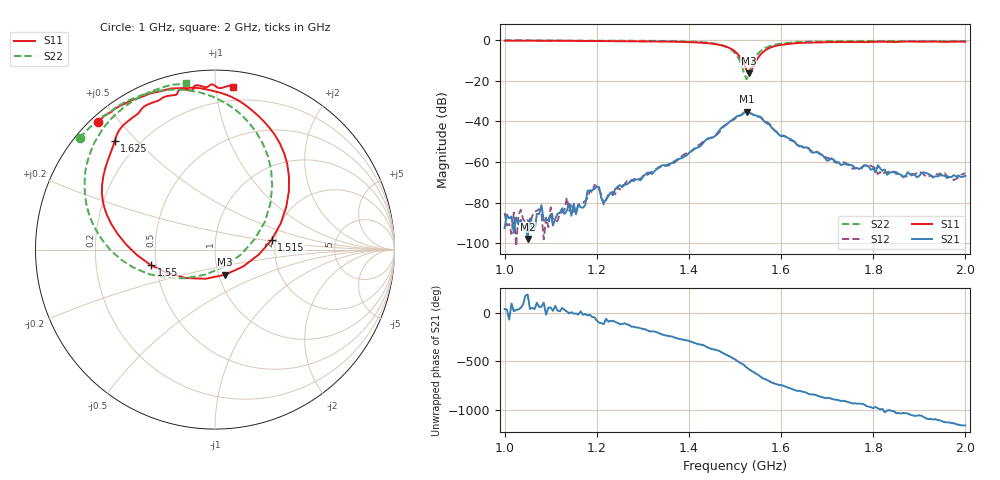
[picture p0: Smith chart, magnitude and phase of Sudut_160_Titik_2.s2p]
# Hz S RI R 50
! CMT, C1220, 16058040, 17.2.0/1
! Date: 14/08/2018 12:47:13
! Data: Format (Calibration Info)
! Freq  S11: Re/Im (F2)  S21: Re/Im (F2)  S12: Re/Im (F2)  S22: Re/Im (F2)
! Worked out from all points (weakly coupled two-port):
!   201 points, 1 GHz to 2 GHz, reference 50 ohm
!   highest |S21| = -35.18 dB at 1.525 GHz (marker M1); lowest = -97.7 dB at 1.05 GHz (marker M2)
!   lowest |S11| = -16.4 dB at 1.53 GHz (marker M3), VSWR 1.36, Z = 53.7 - j15.4 ohm
!   |S11| at or under -10 dB: 1.515 GHz to 1.547 GHz (31.38 MHz wide, 2.05 % of centre)
!   |S22| runs from -19.3 to -0.2 dB; largest |S21 - S12| = 0.00069
!   S11 on the Smith chart (normalised r, x): 1 GHz: 0.02, +0.44; 1.515 GHz: 1.90, +0.23; 1.55 GHz: 0.47, -0.10; 1.625 GHz: 0.12, +0.43; 2 GHz: 0.10, +1.11
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1e9  -0.6514 0.7133  1.89e-05 1.46e-05  -2.87e-05 4.84e-05  -0.7537 0.6215
1.05e9  -0.6106 0.7488  -1.29e-05 -1.51e-06  3.71e-05 7.12e-06  -0.7196 0.6582
1.17e9  -0.4813 0.8239  7.05e-05 -2.75e-05  0.000101 1.62e-06  -0.6182 0.7466
1.18e9  -0.4662 0.8311  0.000176 -9.06e-05  0.000129 -9.04e-06  -0.6074 0.7529
1.195e9  -0.4445 0.8393  0.000149 -0.000162  0.000147 -0.000232  -0.5896 0.7598
1.205e9  -0.4344 0.8418  -5.11e-05 -0.000238  -7.09e-05 -0.000203  -0.5828 0.7609
1.215e9  -0.4239 0.8454  -4.55e-05 -8.84e-05  -3.98e-05 -8.26e-05  -0.578 0.7686
1.25e9  -0.3637 0.869  -0.000129 -0.000239  -3.5e-05 -0.000209  -0.5388 0.8
1.335e9  -0.2193 0.8984  -0.000624 0.000372  -0.000642 0.00042  -0.4042 0.8616
1.45e9  0.1835 0.7941  0.00383 -0.000955  0.00387 -0.00122  0.0189 0.8374
1.5e9  0.4117 0.3254  -0.00612 -0.0108  -0.00576 -0.0102  0.3186 0.3525
1.515e9  0.3156 0.0547  -0.0141 -0.00413  -0.0141 -0.00453  0.2214 0.059
1.525e9  0.1567 -0.0944  -0.0162 0.00628  -0.0165 0.00622  0.0534 -0.0943
1.53e9  0.0564 -0.1399  -0.0123 0.0103  -0.0124 0.0103  -0.0529 -0.139
1.55e9  -0.3556 -0.0879  0.00188 0.0131  0.00135 0.0132  -0.4543 -0.1006
1.58e9  -0.623 0.2591  0.00699 0.000314  0.00727 3.31e-05  -0.7055 0.2102
1.625e9  -0.559 0.6029  0.00138 -0.00314  0.00143 -0.00294  -0.7028 0.5168
1.67e9  -0.445 0.7452  -0.000848 -0.00147  -0.000871 -0.00156  -0.628 0.6678
1.755e9  -0.2789 0.8516  -0.000707 0.000447  -0.000603 0.000339  -0.493 0.8031
1.835e9  -0.1361 0.8862  9.02e-05 0.000531  0.000256 0.000526  -0.3816 0.8691
1.975e9  0.0656 0.9097  0.000278 -0.000394  0.00017 -0.000319  -0.1874 0.9206
2e9  0.1015 0.906  9.68e-05 -0.00045  0.00011 -0.000522  -0.1598 0.93
